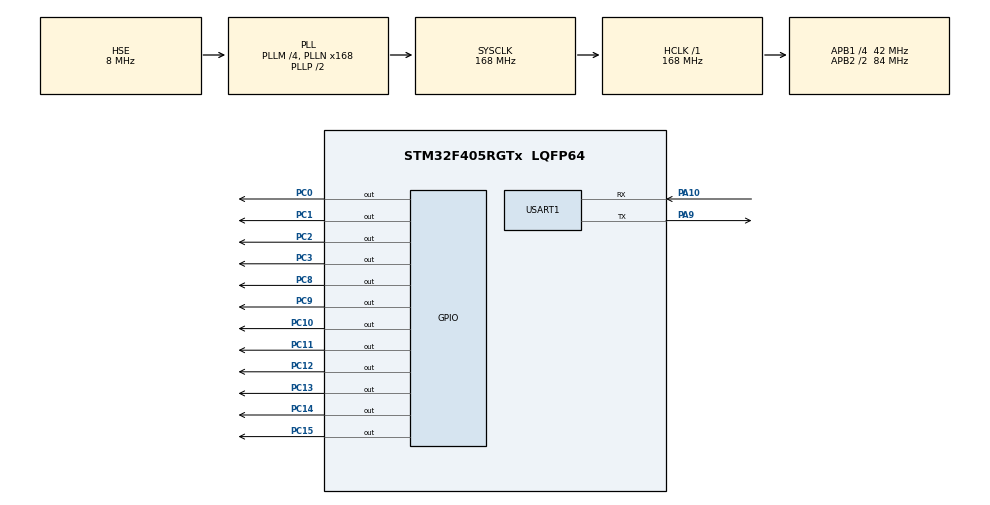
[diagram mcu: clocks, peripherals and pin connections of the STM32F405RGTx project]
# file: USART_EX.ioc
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Mcu.Family=STM32F4
Mcu.Name=STM32F405RGTx
Mcu.Package=LQFP64
NVIC.PriorityGroup=NVIC_PRIORITYGROUP_4
NVIC.USART1_IRQn=true\:0\:0\:false\:false\:true\:true\:true
PA10.Mode=Asynchronous
PA10.Signal=USART1_RX
PA13.Mode=Serial_Wire
PA13.Signal=SYS_JTMS-SWDIO
PA14.Mode=Serial_Wire
PA14.Signal=SYS_JTCK-SWCLK
PA9.Mode=Asynchronous
PA9.Signal=USART1_TX
PC0.Signal=GPIO_Output
PC1.Signal=GPIO_Output
PC10.Signal=GPIO_Output
PC11.Signal=GPIO_Output
PC12.Signal=GPIO_Output
PC13-ANTI_TAMP.Signal=GPIO_Output
PC14-OSC32_IN.Signal=GPIO_Output
PC15-OSC32_OUT.Signal=GPIO_Output
PC2.Signal=GPIO_Output
PC3.Signal=GPIO_Output
PC8.Signal=GPIO_Output
PC9.Signal=GPIO_Output
PH0-OSC_IN.Mode=HSE-External-Oscillator
PH0-OSC_IN.Signal=RCC_OSC_IN
PH1-OSC_OUT.Mode=HSE-External-Oscillator
PH1-OSC_OUT.Signal=RCC_OSC_OUT
ProjectManager.HeapSize=0x200
ProjectManager.StackSize=0x400
ProjectManager.TargetToolchain=EWARM V8.32
RCC.48MHZClocksFreq_Value=84000000
RCC.AHBFreq_Value=168000000
RCC.APB1CLKDivider=RCC_HCLK_DIV4
RCC.APB1Freq_Value=42000000
RCC.APB1TimFreq_Value=84000000
RCC.APB2CLKDivider=RCC_HCLK_DIV2
RCC.APB2Freq_Value=84000000
RCC.APB2TimFreq_Value=168000000
RCC.CortexFreq_Value=168000000
RCC.HCLKFreq_Value=168000000
RCC.HSE_VALUE=8000000
RCC.HSI_VALUE=16000000
RCC.LSE_VALUE=32768
RCC.PLLM=4
RCC.PLLN=168
RCC.PLLSourceVirtual=RCC_PLLSOURCE_HSE
RCC.SYSCLKFreq_VALUE=168000000
RCC.SYSCLKSource=RCC_SYSCLKSOURCE_PLLCLK
RCC.VCOOutputFreq_Value=336000000
USART1.VirtualMode=VM_ASYNC
board=custom

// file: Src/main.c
/* USER CODE BEGIN Header */
/**
  ******************************************************************************
  * @file           : main.c
  * @brief          : Main program body
  ******************************************************************************
  * @attention
  *
  * <h2><center>&copy; Copyright (c) 2020 STMicroelectronics.
  * All rights reserved.</center></h2>
  *
  * This software component is licensed by ST under BSD 3-Clause license,
  * the "License"; You may not use this file except in compliance with the
  * License. You may obtain a copy of the License at:
  *                        opensource.org/licenses/BSD-3-Clause
  *
  ******************************************************************************
  */
/* USER CODE END Header */

#include "main.h"
#include "usart.h"
#include "gpio.h"

/* USER CODE BEGIN PV */
uint8_t rxData;
uint8_t F_flg = 0;
uint8_t L_flg = 0;
/* USER CODE END PV */

void SystemClock_Config(void);

int main(void)
{

  /* MCU Configuration--------------------------------------------------------*/

  /* Reset of all peripherals, Initializes the Flash interface and the Systick. */
  HAL_Init();

  /* Configure the system clock */
  SystemClock_Config();

  /* Initialize all configured peripherals */
  MX_GPIO_Init();
  MX_USART1_UART_Init();
  /* USER CODE BEGIN 2 */
  HAL_UART_Receive_IT(&huart1, &rxData, 1);
  /* USER CODE END 2 */

  /* Infinite loop */
  /* USER CODE BEGIN WHILE */
   unsigned int FND_DATA_TBL [] = {0X3F00, 0X0600, 0X5B00, 0X4F00, 0X6600, 0X6D00,
                                  0X7C00, 0X0700, 0X7F00, 0X6700, 0X7700, 0X7C00,
                                  0X3900, 0X5E00, 0X7900, 0X7100};
   unsigned int PIN_DATA[] = {1,2,4,8};
   unsigned int F_cnt = 0;
   unsigned int L_cnt = 0;

  while (1)
  {
        if(L_flg == 0)
        {
          HAL_GPIO_WritePin(GPIOC, PIN_DATA[L_cnt], GPIO_PIN_SET);
          HAL_Delay(500);
          HAL_GPIO_WritePin(GPIOC, PIN_DATA[L_cnt], GPIO_PIN_RESET);
          HAL_Delay(500);
          L_cnt++;
          if(L_cnt > 3) L_cnt = 0;
        }

        if(F_flg == 0)
        {
          HAL_GPIO_WritePin(GPIOC, FND_DATA_TBL[F_cnt], GPIO_PIN_SET);
          HAL_Delay(500);
          HAL_GPIO_WritePin(GPIOC, FND_DATA_TBL[F_cnt], GPIO_PIN_RESET);
          HAL_Delay(500);
          F_cnt++;
          if(F_cnt > 15) F_cnt = 0;
        }

        //HAL_GPIO_WritePin(GPIOC, GPIO_PIN_0, GPIO_PIN_RESET);
        //HAL_GPIO_WritePin(GPIOC, FND_DATA_TBL[F_cnt], GPIO_PIN_RESET);

    /* USER CODE END WHILE */

  }
}

void SystemClock_Config(void)
{
  RCC_OscInitTypeDef RCC_OscInitStruct = {0};
  RCC_ClkInitTypeDef RCC_ClkInitStruct = {0};

  /** Configure the main internal regulator output voltage
  */
  __HAL_RCC_PWR_CLK_ENABLE();
  __HAL_PWR_VOLTAGESCALING_CONFIG(PWR_REGULATOR_VOLTAGE_SCALE1);
  /** Initializes the CPU, AHB and APB busses clocks
  */
  RCC_OscInitStruct.OscillatorType = RCC_OSCILLATORTYPE_HSE;
  RCC_OscInitStruct.HSEState = RCC_HSE_ON;
  RCC_OscInitStruct.PLL.PLLState = RCC_PLL_ON;
  RCC_OscInitStruct.PLL.PLLSource = RCC_PLLSOURCE_HSE;
  RCC_OscInitStruct.PLL.PLLM = 4;
  RCC_OscInitStruct.PLL.PLLN = 168;
  RCC_OscInitStruct.PLL.PLLP = RCC_PLLP_DIV2;
  RCC_OscInitStruct.PLL.PLLQ = 4;
  if (HAL_RCC_OscConfig(&RCC_OscInitStruct) != HAL_OK)
  {
    Error_Handler();
  }
  /** Initializes the CPU, AHB and APB busses clocks
  */
  RCC_ClkInitStruct.ClockType = RCC_CLOCKTYPE_HCLK|RCC_CLOCKTYPE_SYSCLK
                              |RCC_CLOCKTYPE_PCLK1|RCC_CLOCKTYPE_PCLK2;
  RCC_ClkInitStruct.SYSCLKSource = RCC_SYSCLKSOURCE_PLLCLK;
  RCC_ClkInitStruct.AHBCLKDivider = RCC_SYSCLK_DIV1;
  RCC_ClkInitStruct.APB1CLKDivider = RCC_HCLK_DIV4;
  RCC_ClkInitStruct.APB2CLKDivider = RCC_HCLK_DIV2;

  if (HAL_RCC_ClockConfig(&RCC_ClkInitStruct, FLASH_LATENCY_5) != HAL_OK)
  {
    Error_Handler();
  }
}

/* USER CODE BEGIN 4 */
void HAL_UART_RxCpltCallback(UART_HandleTypeDef *huart)
{
  if(huart->Instance == USART1)
  {
    HAL_UART_Receive_IT(&huart1,&rxData, 1);    //수신 : _IT인터럽트방식
    switch(rxData)
    {
    case '1':
      if(L_flg == 1) L_flg = 0;
      else if(L_flg == 0) L_flg = 1;
      return;
    case '2':
      if(F_flg == 1) F_flg = 0;
      else if(F_flg == 0) F_flg = 1;
      return;

    }
  }

}
/* USER CODE END 4 */

void Error_Handler(void)
{
}

/************************ (C) COPYRIGHT STMicroelectronics *****END OF FILE****/
